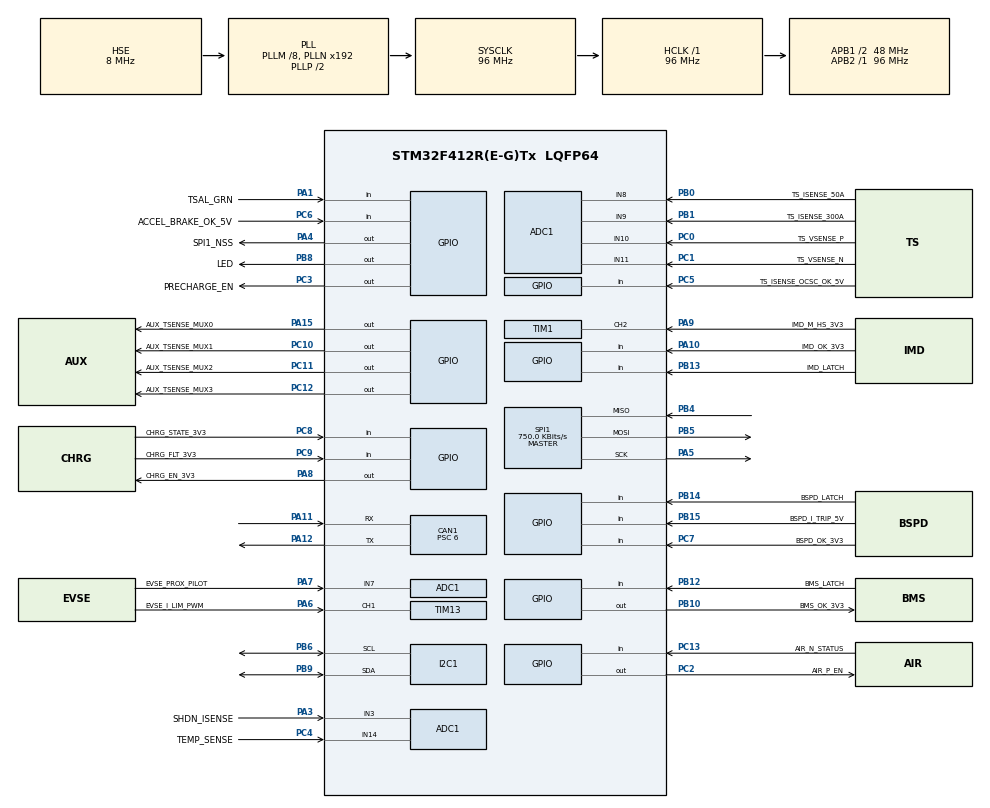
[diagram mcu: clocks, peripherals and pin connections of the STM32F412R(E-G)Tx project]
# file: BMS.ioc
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ADC1.Channel-1\#ChannelRegularConversion=ADC_CHANNEL_3
ADC1.Channel-2\#ChannelRegularConversion=ADC_CHANNEL_7
ADC1.Channel-3\#ChannelRegularConversion=ADC_CHANNEL_8
ADC1.Channel-4\#ChannelRegularConversion=ADC_CHANNEL_9
ADC1.Channel-5\#ChannelRegularConversion=ADC_CHANNEL_10
ADC1.Channel-6\#ChannelRegularConversion=ADC_CHANNEL_11
ADC1.Channel-7\#ChannelRegularConversion=ADC_CHANNEL_14
ADC1.DMAContinuousRequests=ENABLE
ADC1.ExternalTrigConv=ADC_SOFTWARE_START
ADC1.NbrOfConversion=7
ADC1.NbrOfConversionFlag=1
ADC1.Rank-1\#ChannelRegularConversion=1
ADC1.Rank-2\#ChannelRegularConversion=2
ADC1.Rank-3\#ChannelRegularConversion=3
ADC1.Rank-4\#ChannelRegularConversion=4
ADC1.Rank-5\#ChannelRegularConversion=5
ADC1.Rank-6\#ChannelRegularConversion=6
ADC1.Rank-7\#ChannelRegularConversion=7
ADC1.SamplingTime-1\#ChannelRegularConversion=ADC_SAMPLETIME_3CYCLES
ADC1.SamplingTime-2\#ChannelRegularConversion=ADC_SAMPLETIME_3CYCLES
ADC1.SamplingTime-3\#ChannelRegularConversion=ADC_SAMPLETIME_3CYCLES
ADC1.SamplingTime-4\#ChannelRegularConversion=ADC_SAMPLETIME_3CYCLES
ADC1.SamplingTime-5\#ChannelRegularConversion=ADC_SAMPLETIME_3CYCLES
ADC1.SamplingTime-6\#ChannelRegularConversion=ADC_SAMPLETIME_3CYCLES
ADC1.SamplingTime-7\#ChannelRegularConversion=ADC_SAMPLETIME_3CYCLES
ADC1.ScanConvMode=ENABLE
ADC1.master=1
CAN1.ABOM=ENABLE
CAN1.BS1=CAN_BS1_13TQ
CAN1.BS2=CAN_BS2_2TQ
CAN1.CalculateBaudRate=500000
CAN1.CalculateTimeBit=2000
CAN1.CalculateTimeQuantum=125.0
CAN1.NART=ENABLE
CAN1.Prescaler=6
CAN1.RFLM=ENABLE
CAN1.SJW=CAN_SJW_4TQ
CAN1.TXFP=ENABLE
Dma.ADC1.0.Direction=DMA_PERIPH_TO_MEMORY
Dma.ADC1.0.FIFOMode=DMA_FIFOMODE_DISABLE
Dma.ADC1.0.Instance=DMA2_Stream0
Dma.ADC1.0.MemDataAlignment=DMA_MDATAALIGN_HALFWORD
Dma.ADC1.0.MemInc=DMA_MINC_ENABLE
Dma.ADC1.0.Mode=DMA_CIRCULAR
Dma.ADC1.0.PeriphDataAlignment=DMA_PDATAALIGN_HALFWORD
Dma.ADC1.0.PeriphInc=DMA_PINC_DISABLE
Dma.ADC1.0.Priority=DMA_PRIORITY_LOW
Dma.Request0=ADC1
FREERTOS.INCLUDE_uxTaskGetStackHighWaterMark=1
FREERTOS.INCLUDE_vTaskDelayUntil=1
FREERTOS.MEMORY_ALLOCATION=1
FREERTOS.Tasks01=Task100Hz,40,512,RunTask100Hz,Default,NULL,Static,Task100HzBuffer,Task100HzControlBlock;TaskCanRx,24,512,RunTaskCanRx,Default,NULL,Static,TaskCanRxBuffer,TaskCanRxControlBlock;TaskCanTx,24,512,RunTaskCanTx,Default,NULL,Static,TaskCanTxBuffer,TaskCanTxControlBlock;Task1kHz,48,512,RunTask1kHz,Default,NULL,Static,Task1kHzBuffer,Task1kHzControlBlock;Task1Hz,32,512,RunTask1Hz,Default,NULL,Static,Task1HzBuffer,Task1HzControlBlock
FREERTOS.configUSE_NEWLIB_REENTRANT=1
FREERTOS.configUSE_TRACE_FACILITY=1
I2C1.I2C_Mode=I2C_Fast
IWDG.Reload=LSI_FREQUENCY /  IWDG_PRESCALER / IWDG_RESET_FREQUENCY
Mcu.Family=STM32F4
Mcu.Name=STM32F412R(E-G)Tx
Mcu.Package=LQFP64
Mcu.UserConstants=IWDG_WINDOW_DISABLE_VALUE,4095;IWDG_PRESCALER,4;IWDG_RESET_FREQUENCY,5;LSI_FREQUENCY,32000;TASK100HZ_STACK_SIZE,512;TASK1KHZ_STACK_SIZE,512;TASK1HZ_STACK_SIZE,512;TASKCANTX_STACK_SIZE,512;TASKCANRX_STACK_SIZE,512;TIM1_FREQUENCY,96000000;TIM1_AUTO_RELOAD_REG,0xFFFF;TIM1_PWM_MINIMUM_FREQUENCY,1;TIM1_PRESCALER,(TIM1_FREQUENCY / TIM1_AUTO_RELOAD_REG / TIM1_PWM_MINIMUM_FREQUENCY);TIMx_FREQUENCY,96000000;TIM3_PRESCALER,96;ADC_FREQUENCY,1000;TS_ADC_OFFSET,1983
NVIC.CAN1_RX0_IRQn=true\:5\:0\:false\:false\:true\:true\:true\:true\:true
NVIC.CAN1_RX1_IRQn=true\:5\:0\:false\:false\:true\:true\:true\:true\:true
NVIC.DMA2_Stream0_IRQn=true\:5\:0\:false\:false\:true\:true\:false\:true\:true
NVIC.PriorityGroup=NVIC_PRIORITYGROUP_4
NVIC.TIM1_CC_IRQn=true\:5\:0\:false\:false\:true\:true\:true\:true\:true
NVIC.TIM6_IRQn=true\:0\:0\:false\:false\:true\:false\:false\:true\:true
NVIC.TimeBase=TIM6_IRQn
NVIC.TimeBaseIP=TIM6
PA0.GPIO_Label=TSAL_RED
PA0.Signal=S_TIM2_CH1_ETR
PA1.GPIO_Label=TSAL_GRN
PA1.Signal=GPIO_Input
PA10.GPIO_Label=IMD_OK_3V3
PA10.Signal=GPIO_Input
PA11.Mode=CAN_Activate
PA11.Signal=CAN1_RX
PA12.Mode=CAN_Activate
PA12.Signal=CAN1_TX
PA13.Mode=Trace_Asynchronous_SW
PA13.Signal=SYS_JTMS-SWDIO
PA14.Mode=Trace_Asynchronous_SW
PA14.Signal=SYS_JTCK-SWCLK
PA15.GPIO_Label=AUX_TSENSE_MUX0
PA15.Signal=GPIO_Output
PA3.GPIO_Label=SHDN_ISENSE
PA3.Signal=ADCx_IN3
PA4.GPIO_Label=SPI1_NSS
PA4.GPIO_PuPd=GPIO_PULLDOWN
PA4.GPIO_Speed=GPIO_SPEED_FREQ_HIGH
PA4.PinState=GPIO_PIN_SET
PA4.Signal=GPIO_Output
PA5.GPIO_PuPd=GPIO_PULLDOWN
PA5.GPIO_Speed=GPIO_SPEED_FREQ_HIGH
PA5.Mode=Full_Duplex_Master
PA5.Signal=SPI1_SCK
PA6.GPIO_Label=EVSE_I_LIM_PWM
PA6.Signal=S_TIM13_CH1
PA7.GPIO_Label=EVSE_PROX_PILOT
PA7.Signal=ADCx_IN7
PA8.GPIO_Label=CHRG_EN_3V3
PA8.Signal=GPIO_Output
PA9.GPIO_Label=IMD_M_HS_3V3
PA9.Signal=S_TIM1_CH2
PB0.GPIO_Label=TS_ISENSE_50A
PB0.Signal=ADCx_IN8
PB1.GPIO_Label=TS_ISENSE_300A
PB1.Signal=ADCx_IN9
PB10.GPIO_Label=BMS_OK_3V3
PB10.Signal=GPIO_Output
PB12.GPIO_Label=BMS_LATCH
PB12.Signal=GPIO_Input
PB13.GPIO_Label=IMD_LATCH
PB13.Signal=GPIO_Input
PB14.GPIO_Label=BSPD_LATCH
PB14.Signal=GPIO_Input
PB15.GPIO_Label=BSPD_I_TRIP_5V
PB15.Signal=GPIO_Input
PB3.Mode=Trace_Asynchronous_SW
PB3.Signal=SYS_JTDO-SWO
PB4.GPIO_PuPd=GPIO_PULLUP
PB4.GPIO_Speed=GPIO_SPEED_FREQ_HIGH
PB4.Mode=Full_Duplex_Master
PB4.Signal=SPI1_MISO
PB5.GPIO_PuPd=GPIO_PULLDOWN
PB5.GPIO_Speed=GPIO_SPEED_FREQ_HIGH
PB5.Mode=Full_Duplex_Master
PB5.Signal=SPI1_MOSI
PB6.GPIO_Pu=GPIO_PULLUP
PB6.Mode=I2C
PB6.Signal=I2C1_SCL
PB8.GPIO_Label=LED
PB8.Signal=GPIO_Output
PB9.GPIO_Pu=GPIO_PULLUP
PB9.Mode=I2C
PB9.Signal=I2C1_SDA
PC0.GPIO_Label=TS_VSENSE_P
PC0.Signal=ADCx_IN10
PC1.GPIO_Label=TS_VSENSE_N
PC1.Signal=ADCx_IN11
PC10.GPIO_Label=AUX_TSENSE_MUX1
PC10.Signal=GPIO_Output
PC11.GPIO_Label=AUX_TSENSE_MUX2
PC11.Signal=GPIO_Output
PC12.GPIO_Label=AUX_TSENSE_MUX3
PC12.Signal=GPIO_Output
PC13.GPIO_Label=AIR_N_STATUS
PC13.Signal=GPIO_Input
PC2.GPIO_Label=AIR_P_EN
PC2.Signal=GPIO_Output
PC3.GPIO_Label=PRECHARGE_EN
PC3.Signal=GPIO_Output
PC4.GPIO_Label=TEMP_SENSE
PC4.Signal=ADCx_IN14
PC5.GPIO_Label=TS_ISENSE_OCSC_OK_5V
PC5.Signal=GPIO_Input
PC6.GPIO_Label=ACCEL_BRAKE_OK_5V
PC6.Signal=GPIO_Input
PC7.GPIO_Label=BSPD_OK_3V3
PC7.Signal=GPIO_Input
PC8.GPIO_Label=CHRG_STATE_3V3
PC8.Signal=GPIO_Input
PC9.GPIO_Label=CHRG_FLT_3V3
PC9.Signal=GPIO_Input
PH0\ -\ OSC_IN.Mode=HSE-External-Oscillator
PH0\ -\ OSC_IN.Signal=RCC_OSC_IN
PH1\ -\ OSC_OUT.Mode=HSE-External-Oscillator
PH1\ -\ OSC_OUT.Signal=RCC_OSC_OUT
ProjectManager.HeapSize=0x00
ProjectManager.StackSize=0x400
ProjectManager.TargetToolchain=STM32CubeIDE
RCC.AHBFreq_Value=96000000
RCC.APB1CLKDivider=RCC_HCLK_DIV2
RCC.APB1Freq_Value=48000000
RCC.APB1TimFreq_Value=96000000
RCC.APB2Freq_Value=96000000
RCC.APB2TimFreq_Value=96000000
RCC.CortexFreq_Value=96000000
RCC.HCLKFreq_Value=96000000
RCC.HSE_VALUE=8000000
RCC.PLLM=8
RCC.PLLSourceVirtual=RCC_PLLSOURCE_HSE
RCC.SYSCLKFreq_VALUE=96000000
RCC.SYSCLKSource=RCC_SYSCLKSOURCE_PLLCLK
RCC.USBFreq_Value=96000000
RCC.VCOOutputFreq_Value=192000000
SH.ADCx_IN10.0=ADC1_IN10,IN10
SH.ADCx_IN11.0=ADC1_IN11,IN11
SH.ADCx_IN14.0=ADC1_IN14,IN14
SH.ADCx_IN3.0=ADC1_IN3,IN3
SH.ADCx_IN7.0=ADC1_IN7,IN7
SH.ADCx_IN8.0=ADC1_IN8,IN8
SH.ADCx_IN9.0=ADC1_IN9,IN9
SH.S_TIM13_CH1.0=TIM13_CH1,Input_Capture1_from_TI1
SH.S_TIM1_CH2.0=TIM1_CH2,Input_Capture2_from_TI2
SH.S_TIM1_CH2.1=TIM1_CH2,TriggerSource_TI2FP2
SH.S_TIM2_CH1_ETR.0=TIM2_CH1
SPI1.BaudRatePrescaler=SPI_BAUDRATEPRESCALER_128
SPI1.CLKPhase=SPI_PHASE_2EDGE
SPI1.CLKPolarity=SPI_POLARITY_HIGH
SPI1.CalculateBaudRate=750.0 KBits/s
SPI1.Direction=SPI_DIRECTION_2LINES
SPI1.Mode=SPI_MODE_MASTER
SPI1.VirtualType=VM_MASTER
TIM1.Channel-Input_Capture1_from_TI2_63=TIM_CHANNEL_1
TIM1.Channel-Input_Capture2_from_TI2=TIM_CHANNEL_2
TIM1.ICPolarity_CH1=TIM_INPUTCHANNELPOLARITY_FALLING
TIM1.ICPolarity_CH2=TIM_INPUTCHANNELPOLARITY_RISING
TIM1.Period=TIM1_AUTO_RELOAD_REG
TIM1.Prescaler=TIM1_PRESCALER
TIM13.Channel=TIM_CHANNEL_1
TIM13.ICPolarity_CH1=TIM_INPUTCHANNELPOLARITY_FALLING
TIM13.Period=TIM1_AUTO_RELOAD_REG
TIM13.Prescaler=TIM1_PRESCALER
TIM3.Period=(TIMx_FREQUENCY / TIM3_PRESCALER / ADC_FREQUENCY) - 1
TIM3.Prescaler=TIM3_PRESCALER - 1 
TIM3.TIM_MasterOutputTrigger=TIM_TRGO_UPDATE
VP_FREERTOS_VS_CMSIS_V2.Mode=CMSIS_V2
VP_IWDG_VS_IWDG.Mode=IWDG_Activate
VP_SYS_VS_tim6.Mode=TIM6
VP_TIM13_VS_ClockSourceINT.Mode=Enable_Timer
VP_TIM1_VS_ControllerModeReset.Mode=Reset Mode
VP_TIM1_VS_indirect_ch2.Mode=Input_Capture1_from_TI2_63
VP_TIM3_VS_ClockSourceINT.Mode=Internal
board=custom

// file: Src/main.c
/* USER CODE BEGIN Header */
/**
 ******************************************************************************
 * @file           : main.c
 * @brief          : Main program body
 ******************************************************************************
 * @attention
 *
 * <h2><center>&copy; Copyright (c) 2020 STMicroelectronics.
 * All rights reserved.</center></h2>
 *
 * This software component is licensed by ST under Ultimate Liberty license
 * SLA0044, the "License"; You may not use this file except in compliance with
 * the License. You may obtain a copy of the License at:
 *                             www.st.com/SLA0044
 *
 ******************************************************************************
 */
/* USER CODE END Header */
#include "main.h"
#include "cmsis_os.h"

/* USER CODE BEGIN Includes */
#include "tasks.h"
/* USER CODE END Includes */

typedef StaticTask_t osStaticThreadDef_t;

/* USER CODE BEGIN PD */
#define I2C_RECOVER_NUM_CLOCKS 10U    /* # clock cycles for recovery  */
#define I2C_RECOVER_CLOCK_FREQ 50000U /* clock frequency for recovery */
#define I2C_RECOVER_CLOCK_DELAY_MS (1000U / (2U * I2C_RECOVER_CLOCK_FREQ))
#define I2C1_SCL_PIN GPIO_PIN_6
#define I2C1_SCL_PORT GPIOB

/* USER CODE END PD */

ADC_HandleTypeDef hadc1;
DMA_HandleTypeDef hdma_adc1;

CAN_HandleTypeDef hcan1;

I2C_HandleTypeDef hi2c1;

IWDG_HandleTypeDef hiwdg;

SPI_HandleTypeDef hspi1;

TIM_HandleTypeDef htim1;
TIM_HandleTypeDef htim3;
TIM_HandleTypeDef htim13;

/* Definitions for Task100Hz */
osThreadId_t         Task100HzHandle;
uint32_t             Task100HzBuffer[512];
osStaticThreadDef_t  Task100HzControlBlock;
const osThreadAttr_t Task100Hz_attributes = {
    .name       = "Task100Hz",
    .cb_mem     = &Task100HzControlBlock,
    .cb_size    = sizeof(Task100HzControlBlock),
    .stack_mem  = &Task100HzBuffer[0],
    .stack_size = sizeof(Task100HzBuffer),
    .priority   = (osPriority_t)osPriorityHigh,
};
/* Definitions for TaskCanRx */
osThreadId_t         TaskCanRxHandle;
uint32_t             TaskCanRxBuffer[512];
osStaticThreadDef_t  TaskCanRxControlBlock;
const osThreadAttr_t TaskCanRx_attributes = {
    .name       = "TaskCanRx",
    .cb_mem     = &TaskCanRxControlBlock,
    .cb_size    = sizeof(TaskCanRxControlBlock),
    .stack_mem  = &TaskCanRxBuffer[0],
    .stack_size = sizeof(TaskCanRxBuffer),
    .priority   = (osPriority_t)osPriorityNormal,
};
/* Definitions for TaskCanTx */
osThreadId_t         TaskCanTxHandle;
uint32_t             TaskCanTxBuffer[512];
osStaticThreadDef_t  TaskCanTxControlBlock;
const osThreadAttr_t TaskCanTx_attributes = {
    .name       = "TaskCanTx",
    .cb_mem     = &TaskCanTxControlBlock,
    .cb_size    = sizeof(TaskCanTxControlBlock),
    .stack_mem  = &TaskCanTxBuffer[0],
    .stack_size = sizeof(TaskCanTxBuffer),
    .priority   = (osPriority_t)osPriorityNormal,
};
/* Definitions for Task1kHz */
osThreadId_t         Task1kHzHandle;
uint32_t             Task1kHzBuffer[512];
osStaticThreadDef_t  Task1kHzControlBlock;
const osThreadAttr_t Task1kHz_attributes = {
    .name       = "Task1kHz",
    .cb_mem     = &Task1kHzControlBlock,
    .cb_size    = sizeof(Task1kHzControlBlock),
    .stack_mem  = &Task1kHzBuffer[0],
    .stack_size = sizeof(Task1kHzBuffer),
    .priority   = (osPriority_t)osPriorityRealtime,
};
/* Definitions for Task1Hz */
osThreadId_t         Task1HzHandle;
uint32_t             Task1HzBuffer[512];
osStaticThreadDef_t  Task1HzControlBlock;
const osThreadAttr_t Task1Hz_attributes = {
    .name       = "Task1Hz",
    .cb_mem     = &Task1HzControlBlock,
    .cb_size    = sizeof(Task1HzControlBlock),
    .stack_mem  = &Task1HzBuffer[0],
    .stack_size = sizeof(Task1HzBuffer),
    .priority   = (osPriority_t)osPriorityAboveNormal,
};

void        SystemClock_Config(void);
static void MX_GPIO_Init(void);
static void MX_DMA_Init(void);
static void MX_ADC1_Init(void);
static void MX_CAN1_Init(void);
static void MX_SPI1_Init(void);
static void MX_TIM1_Init(void);
static void MX_TIM13_Init(void);
static void MX_I2C1_Init(void);
static void MX_TIM3_Init(void);
static void MX_IWDG_Init(void);
void        RunTask100Hz(void *argument);
void        RunTaskCanRx(void *argument);
void        RunTaskCanTx(void *argument);
void        RunTask1kHz(void *argument);
void        RunTask1Hz(void *argument);

int main(void)
{
    /* USER CODE BEGIN 1 */
    tasks_preInit();
    /* USER CODE END 1 */

    /* MCU Configuration--------------------------------------------------------*/

    /* Reset of all peripherals, Initializes the Flash interface and the Systick. */
    HAL_Init();

    /* Configure the system clock */
    SystemClock_Config();

    /* Initialize all configured peripherals */
    MX_GPIO_Init();
    MX_DMA_Init();
    MX_ADC1_Init();
    MX_CAN1_Init();
    MX_SPI1_Init();
    MX_TIM1_Init();
    MX_TIM13_Init();
    MX_I2C1_Init();
    MX_TIM3_Init();
    MX_IWDG_Init();
    /* USER CODE BEGIN 2 */
    tasks_init();
    /* USER CODE END 2 */

    /* Init scheduler */
    osKernelInitialize();

    /* Create the thread(s) */
    /* creation of Task100Hz */
    Task100HzHandle = osThreadNew(RunTask100Hz, NULL, &Task100Hz_attributes);

    /* creation of TaskCanRx */
    TaskCanRxHandle = osThreadNew(RunTaskCanRx, NULL, &TaskCanRx_attributes);

    /* creation of TaskCanTx */
    TaskCanTxHandle = osThreadNew(RunTaskCanTx, NULL, &TaskCanTx_attributes);

    /* creation of Task1kHz */
    Task1kHzHandle = osThreadNew(RunTask1kHz, NULL, &Task1kHz_attributes);

    /* creation of Task1Hz */
    Task1HzHandle = osThreadNew(RunTask1Hz, NULL, &Task1Hz_attributes);

    /* Start scheduler */
    osKernelStart();

    /* We should never get here as control is now taken by the scheduler */
    /* Infinite loop */
    while (1)
    {

    }
}

void SystemClock_Config(void)
{
    RCC_OscInitTypeDef RCC_OscInitStruct = { 0 };
    RCC_ClkInitTypeDef RCC_ClkInitStruct = { 0 };

    /** Configure the main internal regulator output voltage
     */
    __HAL_RCC_PWR_CLK_ENABLE();
    __HAL_PWR_VOLTAGESCALING_CONFIG(PWR_REGULATOR_VOLTAGE_SCALE1);

    /** Initializes the RCC Oscillators according to the specified parameters
     * in the RCC_OscInitTypeDef structure.
     */
    RCC_OscInitStruct.OscillatorType = RCC_OSCILLATORTYPE_LSI | RCC_OSCILLATORTYPE_HSE;
    RCC_OscInitStruct.HSEState       = RCC_HSE_ON;
    RCC_OscInitStruct.LSIState       = RCC_LSI_ON;
    RCC_OscInitStruct.PLL.PLLState   = RCC_PLL_ON;
    RCC_OscInitStruct.PLL.PLLSource  = RCC_PLLSOURCE_HSE;
    RCC_OscInitStruct.PLL.PLLM       = 8;
    RCC_OscInitStruct.PLL.PLLN       = 192;
    RCC_OscInitStruct.PLL.PLLP       = RCC_PLLP_DIV2;
    RCC_OscInitStruct.PLL.PLLQ       = 2;
    RCC_OscInitStruct.PLL.PLLR       = 2;
    if (HAL_RCC_OscConfig(&RCC_OscInitStruct) != HAL_OK)
    {
        Error_Handler();
    }

    /** Initializes the CPU, AHB and APB buses clocks
     */
    RCC_ClkInitStruct.ClockType = RCC_CLOCKTYPE_HCLK | RCC_CLOCKTYPE_SYSCLK | RCC_CLOCKTYPE_PCLK1 | RCC_CLOCKTYPE_PCLK2;
    RCC_ClkInitStruct.SYSCLKSource   = RCC_SYSCLKSOURCE_PLLCLK;
    RCC_ClkInitStruct.AHBCLKDivider  = RCC_SYSCLK_DIV1;
    RCC_ClkInitStruct.APB1CLKDivider = RCC_HCLK_DIV2;
    RCC_ClkInitStruct.APB2CLKDivider = RCC_HCLK_DIV1;

    if (HAL_RCC_ClockConfig(&RCC_ClkInitStruct, FLASH_LATENCY_3) != HAL_OK)
    {
        Error_Handler();
    }
}

static void MX_ADC1_Init(void)
{

    ADC_ChannelConfTypeDef sConfig = { 0 };

    /** Configure the global features of the ADC (Clock, Resolution, Data Alignment and number of conversion)
     */
    hadc1.Instance                   = ADC1;
    hadc1.Init.ClockPrescaler        = ADC_CLOCK_SYNC_PCLK_DIV4;
    hadc1.Init.Resolution            = ADC_RESOLUTION_12B;
    hadc1.Init.ScanConvMode          = ENABLE;
    hadc1.Init.ContinuousConvMode    = DISABLE;
    hadc1.Init.DiscontinuousConvMode = DISABLE;
    hadc1.Init.ExternalTrigConvEdge  = ADC_EXTERNALTRIGCONVEDGE_NONE;
    hadc1.Init.ExternalTrigConv      = ADC_SOFTWARE_START;
    hadc1.Init.DataAlign             = ADC_DATAALIGN_RIGHT;
    hadc1.Init.NbrOfConversion       = 7;
    hadc1.Init.DMAContinuousRequests = ENABLE;
    hadc1.Init.EOCSelection          = ADC_EOC_SINGLE_CONV;
    if (HAL_ADC_Init(&hadc1) != HAL_OK)
    {
        Error_Handler();
    }

    /** Configure for the selected ADC regular channel its corresponding rank in the sequencer and its sample time.
     */
    sConfig.Channel      = ADC_CHANNEL_3;
    sConfig.Rank         = 1;
    sConfig.SamplingTime = ADC_SAMPLETIME_3CYCLES;
    if (HAL_ADC_ConfigChannel(&hadc1, &sConfig) != HAL_OK)
    {
        Error_Handler();
    }

    /** Configure for the selected ADC regular channel its corresponding rank in the sequencer and its sample time.
     */
    sConfig.Channel = ADC_CHANNEL_7;
    sConfig.Rank    = 2;
    if (HAL_ADC_ConfigChannel(&hadc1, &sConfig) != HAL_OK)
    {
        Error_Handler();
    }

    /** Configure for the selected ADC regular channel its corresponding rank in the sequencer and its sample time.
     */
    sConfig.Channel = ADC_CHANNEL_8;
    sConfig.Rank    = 3;
    if (HAL_ADC_ConfigChannel(&hadc1, &sConfig) != HAL_OK)
    {
        Error_Handler();
    }

    /** Configure for the selected ADC regular channel its corresponding rank in the sequencer and its sample time.
     */
    sConfig.Channel = ADC_CHANNEL_9;
    sConfig.Rank    = 4;
    if (HAL_ADC_ConfigChannel(&hadc1, &sConfig) != HAL_OK)
    {
        Error_Handler();
    }

    /** Configure for the selected ADC regular channel its corresponding rank in the sequencer and its sample time.
     */
    sConfig.Channel = ADC_CHANNEL_10;
    sConfig.Rank    = 5;
    if (HAL_ADC_ConfigChannel(&hadc1, &sConfig) != HAL_OK)
    {
        Error_Handler();
    }

    /** Configure for the selected ADC regular channel its corresponding rank in the sequencer and its sample time.
     */
    sConfig.Channel = ADC_CHANNEL_11;
    sConfig.Rank    = 6;
    if (HAL_ADC_ConfigChannel(&hadc1, &sConfig) != HAL_OK)
    {
        Error_Handler();
    }

    /** Configure for the selected ADC regular channel its corresponding rank in the sequencer and its sample time.
     */
    sConfig.Channel = ADC_CHANNEL_14;
    sConfig.Rank    = 7;
    if (HAL_ADC_ConfigChannel(&hadc1, &sConfig) != HAL_OK)
    {
        Error_Handler();
    }
}

static void MX_CAN1_Init(void)
{

    hcan1.Instance                  = CAN1;
    hcan1.Init.Prescaler            = 6;
    hcan1.Init.Mode                 = CAN_MODE_NORMAL;
    hcan1.Init.SyncJumpWidth        = CAN_SJW_4TQ;
    hcan1.Init.TimeSeg1             = CAN_BS1_13TQ;
    hcan1.Init.TimeSeg2             = CAN_BS2_2TQ;
    hcan1.Init.TimeTriggeredMode    = DISABLE;
    hcan1.Init.AutoBusOff           = ENABLE;
    hcan1.Init.AutoWakeUp           = DISABLE;
    hcan1.Init.AutoRetransmission   = ENABLE;
    hcan1.Init.ReceiveFifoLocked    = ENABLE;
    hcan1.Init.TransmitFifoPriority = ENABLE;
    if (HAL_CAN_Init(&hcan1) != HAL_OK)
    {
        Error_Handler();
    }
}

static void MX_I2C1_Init(void)
{

    /* USER CODE BEGIN I2C1_Init 1 */

    // Manually pulse the I2C clock signal 10 times, this can recover the I2C bus from a locked state after a reflash or
    // reset

    // To manually pulse must first set I2C pins to GPIO General Purpose Output Open-Drain
    GPIO_InitTypeDef GPIO_InitStruct;

    GPIO_InitStruct.Mode      = GPIO_MODE_OUTPUT_OD;
    GPIO_InitStruct.Alternate = GPIO_AF4_I2C1;
    GPIO_InitStruct.Pull      = GPIO_PULLUP;
    GPIO_InitStruct.Speed     = GPIO_SPEED_FREQ_HIGH;

    GPIO_InitStruct.Pin = I2C1_SCL_PIN;
    HAL_GPIO_Init(I2C1_SCL_PORT, &GPIO_InitStruct);

    for (uint8_t i = 0U; i < I2C_RECOVER_NUM_CLOCKS; ++i)
    {
        HAL_Delay(I2C_RECOVER_CLOCK_DELAY_MS);

        HAL_GPIO_WritePin(I2C1_SCL_PORT, I2C1_SCL_PIN, GPIO_PIN_RESET);

        HAL_Delay(I2C_RECOVER_CLOCK_DELAY_MS);

        HAL_GPIO_WritePin(I2C1_SCL_PORT, I2C1_SCL_PIN, GPIO_PIN_RESET);
    }

    // Set pins back to GPIO Alternate Function

    GPIO_InitStruct.Mode      = GPIO_MODE_AF_OD;
    GPIO_InitStruct.Pull      = GPIO_PULLUP;
    GPIO_InitStruct.Speed     = GPIO_SPEED_FREQ_LOW;
    GPIO_InitStruct.Alternate = GPIO_AF4_I2C1;

    GPIO_InitStruct.Pin = I2C1_SCL_PIN;
    HAL_GPIO_Init(I2C1_SCL_PORT, &GPIO_InitStruct);

    /* USER CODE END I2C1_Init 1 */
    hi2c1.Instance             = I2C1;
    hi2c1.Init.ClockSpeed      = 400000;
    hi2c1.Init.DutyCycle       = I2C_DUTYCYCLE_2;
    hi2c1.Init.OwnAddress1     = 0;
    hi2c1.Init.AddressingMode  = I2C_ADDRESSINGMODE_7BIT;
    hi2c1.Init.DualAddressMode = I2C_DUALADDRESS_DISABLE;
    hi2c1.Init.OwnAddress2     = 0;
    hi2c1.Init.GeneralCallMode = I2C_GENERALCALL_DISABLE;
    hi2c1.Init.NoStretchMode   = I2C_NOSTRETCH_DISABLE;
    if (HAL_I2C_Init(&hi2c1) != HAL_OK)
    {
        Error_Handler();
    }
}

static void MX_IWDG_Init(void)
{

    hiwdg.Instance       = IWDG;
    hiwdg.Init.Prescaler = IWDG_PRESCALER_4;
    hiwdg.Init.Reload    = LSI_FREQUENCY / IWDG_PRESCALER / IWDG_RESET_FREQUENCY;
    if (HAL_IWDG_Init(&hiwdg) != HAL_OK)
    {
        Error_Handler();
    }
}

static void MX_SPI1_Init(void)
{

    /* SPI1 parameter configuration*/
    hspi1.Instance               = SPI1;
    hspi1.Init.Mode              = SPI_MODE_MASTER;
    hspi1.Init.Direction         = SPI_DIRECTION_2LINES;
    hspi1.Init.DataSize          = SPI_DATASIZE_8BIT;
    hspi1.Init.CLKPolarity       = SPI_POLARITY_HIGH;
    hspi1.Init.CLKPhase          = SPI_PHASE_2EDGE;
    hspi1.Init.NSS               = SPI_NSS_SOFT;
    hspi1.Init.BaudRatePrescaler = SPI_BAUDRATEPRESCALER_128;
    hspi1.Init.FirstBit          = SPI_FIRSTBIT_MSB;
    hspi1.Init.TIMode            = SPI_TIMODE_DISABLE;
    hspi1.Init.CRCCalculation    = SPI_CRCCALCULATION_DISABLE;
    hspi1.Init.CRCPolynomial     = 10;
    if (HAL_SPI_Init(&hspi1) != HAL_OK)
    {
        Error_Handler();
    }
}

static void MX_TIM1_Init(void)
{

    TIM_SlaveConfigTypeDef  sSlaveConfig  = { 0 };
    TIM_MasterConfigTypeDef sMasterConfig = { 0 };
    TIM_IC_InitTypeDef      sConfigIC     = { 0 };

    htim1.Instance               = TIM1;
    htim1.Init.Prescaler         = TIM1_PRESCALER;
    htim1.Init.CounterMode       = TIM_COUNTERMODE_UP;
    htim1.Init.Period            = TIM1_AUTO_RELOAD_REG;
    htim1.Init.ClockDivision     = TIM_CLOCKDIVISION_DIV1;
    htim1.Init.RepetitionCounter = 0;
    htim1.Init.AutoReloadPreload = TIM_AUTORELOAD_PRELOAD_DISABLE;
    if (HAL_TIM_Base_Init(&htim1) != HAL_OK)
    {
        Error_Handler();
    }
    if (HAL_TIM_IC_Init(&htim1) != HAL_OK)
    {
        Error_Handler();
    }
    sSlaveConfig.SlaveMode       = TIM_SLAVEMODE_RESET;
    sSlaveConfig.InputTrigger    = TIM_TS_TI2FP2;
    sSlaveConfig.TriggerPolarity = TIM_INPUTCHANNELPOLARITY_RISING;
    sSlaveConfig.TriggerFilter   = 0;
    if (HAL_TIM_SlaveConfigSynchro(&htim1, &sSlaveConfig) != HAL_OK)
    {
        Error_Handler();
    }
    sMasterConfig.MasterOutputTrigger = TIM_TRGO_RESET;
    sMasterConfig.MasterSlaveMode     = TIM_MASTERSLAVEMODE_DISABLE;
    if (HAL_TIMEx_MasterConfigSynchronization(&htim1, &sMasterConfig) != HAL_OK)
    {
        Error_Handler();
    }
    sConfigIC.ICPolarity  = TIM_INPUTCHANNELPOLARITY_FALLING;
    sConfigIC.ICSelection = TIM_ICSELECTION_INDIRECTTI;
    sConfigIC.ICPrescaler = TIM_ICPSC_DIV1;
    sConfigIC.ICFilter    = 0;
    if (HAL_TIM_IC_ConfigChannel(&htim1, &sConfigIC, TIM_CHANNEL_1) != HAL_OK)
    {
        Error_Handler();
    }
    sConfigIC.ICPolarity  = TIM_INPUTCHANNELPOLARITY_RISING;
    sConfigIC.ICSelection = TIM_ICSELECTION_DIRECTTI;
    if (HAL_TIM_IC_ConfigChannel(&htim1, &sConfigIC, TIM_CHANNEL_2) != HAL_OK)
    {
        Error_Handler();
    }
}

static void MX_TIM3_Init(void)
{

    TIM_ClockConfigTypeDef  sClockSourceConfig = { 0 };
    TIM_MasterConfigTypeDef sMasterConfig      = { 0 };

    htim3.Instance               = TIM3;
    htim3.Init.Prescaler         = TIM3_PRESCALER - 1;
    htim3.Init.CounterMode       = TIM_COUNTERMODE_UP;
    htim3.Init.Period            = (TIMx_FREQUENCY / TIM3_PRESCALER / ADC_FREQUENCY) - 1;
    htim3.Init.ClockDivision     = TIM_CLOCKDIVISION_DIV1;
    htim3.Init.AutoReloadPreload = TIM_AUTORELOAD_PRELOAD_DISABLE;
    if (HAL_TIM_Base_Init(&htim3) != HAL_OK)
    {
        Error_Handler();
    }
    sClockSourceConfig.ClockSource = TIM_CLOCKSOURCE_INTERNAL;
    if (HAL_TIM_ConfigClockSource(&htim3, &sClockSourceConfig) != HAL_OK)
    {
        Error_Handler();
    }
    sMasterConfig.MasterOutputTrigger = TIM_TRGO_UPDATE;
    sMasterConfig.MasterSlaveMode     = TIM_MASTERSLAVEMODE_DISABLE;
    if (HAL_TIMEx_MasterConfigSynchronization(&htim3, &sMasterConfig) != HAL_OK)
    {
        Error_Handler();
    }
}

static void MX_TIM13_Init(void)
{

    TIM_IC_InitTypeDef sConfigIC = { 0 };

    htim13.Instance               = TIM13;
    htim13.Init.Prescaler         = TIM1_PRESCALER;
    htim13.Init.CounterMode       = TIM_COUNTERMODE_UP;
    htim13.Init.Period            = TIM1_AUTO_RELOAD_REG;
    htim13.Init.ClockDivision     = TIM_CLOCKDIVISION_DIV1;
    htim13.Init.AutoReloadPreload = TIM_AUTORELOAD_PRELOAD_DISABLE;
    if (HAL_TIM_Base_Init(&htim13) != HAL_OK)
    {
        Error_Handler();
    }
    if (HAL_TIM_IC_Init(&htim13) != HAL_OK)
    {
        Error_Handler();
    }
    sConfigIC.ICPolarity  = TIM_INPUTCHANNELPOLARITY_FALLING;
    sConfigIC.ICSelection = TIM_ICSELECTION_DIRECTTI;
    sConfigIC.ICPrescaler = TIM_ICPSC_DIV1;
    sConfigIC.ICFilter    = 0;
    if (HAL_TIM_IC_ConfigChannel(&htim13, &sConfigIC, TIM_CHANNEL_1) != HAL_OK)
    {
        Error_Handler();
    }
}

static void MX_DMA_Init(void)
{
    /* DMA controller clock enable */
    __HAL_RCC_DMA2_CLK_ENABLE();

    /* DMA interrupt init */
    /* DMA2_Stream0_IRQn interrupt configuration */
    HAL_NVIC_SetPriority(DMA2_Stream0_IRQn, 5, 0);
    HAL_NVIC_EnableIRQ(DMA2_Stream0_IRQn);
}

static void MX_GPIO_Init(void)
{
    GPIO_InitTypeDef GPIO_InitStruct = { 0 };

    /* GPIO Ports Clock Enable */
    __HAL_RCC_GPIOC_CLK_ENABLE();
    __HAL_RCC_GPIOH_CLK_ENABLE();
    __HAL_RCC_GPIOA_CLK_ENABLE();
    __HAL_RCC_GPIOB_CLK_ENABLE();

    /*Configure GPIO pin Output Level */
    HAL_GPIO_WritePin(
        GPIOC, AIR_P_EN_Pin | PRECHARGE_EN_Pin | AUX_TSENSE_MUX1_Pin | AUX_TSENSE_MUX2_Pin | AUX_TSENSE_MUX3_Pin,
        GPIO_PIN_RESET);

    /*Configure GPIO pin Output Level */
    HAL_GPIO_WritePin(SPI1_NSS_GPIO_Port, SPI1_NSS_Pin, GPIO_PIN_SET);

    /*Configure GPIO pin Output Level */
    HAL_GPIO_WritePin(GPIOB, BMS_OK_3V3_Pin | LED_Pin, GPIO_PIN_RESET);

    /*Configure GPIO pin Output Level */
    HAL_GPIO_WritePin(GPIOA, CHRG_EN_3V3_Pin | AUX_TSENSE_MUX0_Pin, GPIO_PIN_RESET);

    /*Configure GPIO pins : AIR_N_STATUS_Pin TS_ISENSE_OCSC_OK_5V_Pin ACCEL_BRAKE_OK_5V_Pin BSPD_OK_3V3_Pin
                             CHRG_STATE_3V3_Pin CHRG_FLT_3V3_Pin */
    GPIO_InitStruct.Pin = AIR_N_STATUS_Pin | TS_ISENSE_OCSC_OK_5V_Pin | ACCEL_BRAKE_OK_5V_Pin | BSPD_OK_3V3_Pin |
                          CHRG_STATE_3V3_Pin | CHRG_FLT_3V3_Pin;
    GPIO_InitStruct.Mode = GPIO_MODE_INPUT;
    GPIO_InitStruct.Pull = GPIO_NOPULL;
    HAL_GPIO_Init(GPIOC, &GPIO_InitStruct);

    /*Configure GPIO pins : AIR_P_EN_Pin PRECHARGE_EN_Pin AUX_TSENSE_MUX1_Pin AUX_TSENSE_MUX2_Pin
                             AUX_TSENSE_MUX3_Pin */
    GPIO_InitStruct.Pin =
        AIR_P_EN_Pin | PRECHARGE_EN_Pin | AUX_TSENSE_MUX1_Pin | AUX_TSENSE_MUX2_Pin | AUX_TSENSE_MUX3_Pin;
    GPIO_InitStruct.Mode  = GPIO_MODE_OUTPUT_PP;
    GPIO_InitStruct.Pull  = GPIO_NOPULL;
    GPIO_InitStruct.Speed = GPIO_SPEED_FREQ_LOW;
    HAL_GPIO_Init(GPIOC, &GPIO_InitStruct);

    /*Configure GPIO pin : TSAL_RED_Pin */
    GPIO_InitStruct.Pin       = TSAL_RED_Pin;
    GPIO_InitStruct.Mode      = GPIO_MODE_AF_PP;
    GPIO_InitStruct.Pull      = GPIO_NOPULL;
    GPIO_InitStruct.Speed     = GPIO_SPEED_FREQ_LOW;
    GPIO_InitStruct.Alternate = GPIO_AF1_TIM2;
    HAL_GPIO_Init(TSAL_RED_GPIO_Port, &GPIO_InitStruct);

    /*Configure GPIO pins : TSAL_GRN_Pin IMD_OK_3V3_Pin */
    GPIO_InitStruct.Pin  = TSAL_GRN_Pin | IMD_OK_3V3_Pin;
    GPIO_InitStruct.Mode = GPIO_MODE_INPUT;
    GPIO_InitStruct.Pull = GPIO_NOPULL;
    HAL_GPIO_Init(GPIOA, &GPIO_InitStruct);

    /*Configure GPIO pin : SPI1_NSS_Pin */
    GPIO_InitStruct.Pin   = SPI1_NSS_Pin;
    GPIO_InitStruct.Mode  = GPIO_MODE_OUTPUT_PP;
    GPIO_InitStruct.Pull  = GPIO_PULLDOWN;
    GPIO_InitStruct.Speed = GPIO_SPEED_FREQ_HIGH;
    HAL_GPIO_Init(SPI1_NSS_GPIO_Port, &GPIO_InitStruct);

    /*Configure GPIO pins : BMS_OK_3V3_Pin LED_Pin */
    GPIO_InitStruct.Pin   = BMS_OK_3V3_Pin | LED_Pin;
    GPIO_InitStruct.Mode  = GPIO_MODE_OUTPUT_PP;
    GPIO_InitStruct.Pull  = GPIO_NOPULL;
    GPIO_InitStruct.Speed = GPIO_SPEED_FREQ_LOW;
    HAL_GPIO_Init(GPIOB, &GPIO_InitStruct);

    /*Configure GPIO pins : BMS_LATCH_Pin IMD_LATCH_Pin BSPD_LATCH_Pin BSPD_I_TRIP_5V_Pin */
    GPIO_InitStruct.Pin  = BMS_LATCH_Pin | IMD_LATCH_Pin | BSPD_LATCH_Pin | BSPD_I_TRIP_5V_Pin;
    GPIO_InitStruct.Mode = GPIO_MODE_INPUT;
    GPIO_InitStruct.Pull = GPIO_NOPULL;
    HAL_GPIO_Init(GPIOB, &GPIO_InitStruct);

    /*Configure GPIO pins : CHRG_EN_3V3_Pin AUX_TSENSE_MUX0_Pin */
    GPIO_InitStruct.Pin   = CHRG_EN_3V3_Pin | AUX_TSENSE_MUX0_Pin;
    GPIO_InitStruct.Mode  = GPIO_MODE_OUTPUT_PP;
    GPIO_InitStruct.Pull  = GPIO_NOPULL;
    GPIO_InitStruct.Speed = GPIO_SPEED_FREQ_LOW;
    HAL_GPIO_Init(GPIOA, &GPIO_InitStruct);

}

void RunTask100Hz(void *argument)
{
    /* USER CODE BEGIN 5 */
    UNUSED(argument);
    tasks_run100Hz();
    /* USER CODE END 5 */
}

void RunTaskCanRx(void *argument)
{
    /* USER CODE BEGIN RunTaskCanRx */
    UNUSED(argument);
    tasks_runCanRx();
    /* USER CODE END RunTaskCanRx */
}

void RunTaskCanTx(void *argument)
{
    /* USER CODE BEGIN RunTaskCanTx */
    UNUSED(argument);
    tasks_runCanTx();
    /* USER CODE END RunTaskCanTx */
}

void RunTask1kHz(void *argument)
{
    /* USER CODE BEGIN RunTask1kHz */
    UNUSED(argument);
    tasks_run1kHz();
    /* USER CODE END RunTask1kHz */
}

void RunTask1Hz(void *argument)
{
    /* USER CODE BEGIN RunTask1Hz */
    UNUSED(argument);
    tasks_run1Hz();
    /* USER CODE END RunTask1Hz */
}

void HAL_TIM_PeriodElapsedCallback(TIM_HandleTypeDef *htim)
{
    if (htim->Instance == TIM6)
    {
        HAL_IncTick();
    }
}

void Error_Handler(void)
{
    /* USER CODE BEGIN Error_Handler_Debug */
    __assert_func(__FILE__, __LINE__, "Error_Handler", "Error_Handler");
    /* USER CODE END Error_Handler_Debug */
}

#ifdef USE_FULL_ASSERT
/**
 * @brief  Reports the name of the source file and the source line number
 *         where the assert_param error has occurred.
 * @param  file: pointer to the source file name
 * @param  line: assert_param error line source number
 * @retval None
 */
void assert_failed(uint8_t *file, uint32_t line)
{
    /* USER CODE BEGIN 6 */
    __assert_func(file, line, "assert_failed", "assert_failed");
    /* USER CODE END 6 */
}
#endif /* USE_FULL_ASSERT */
